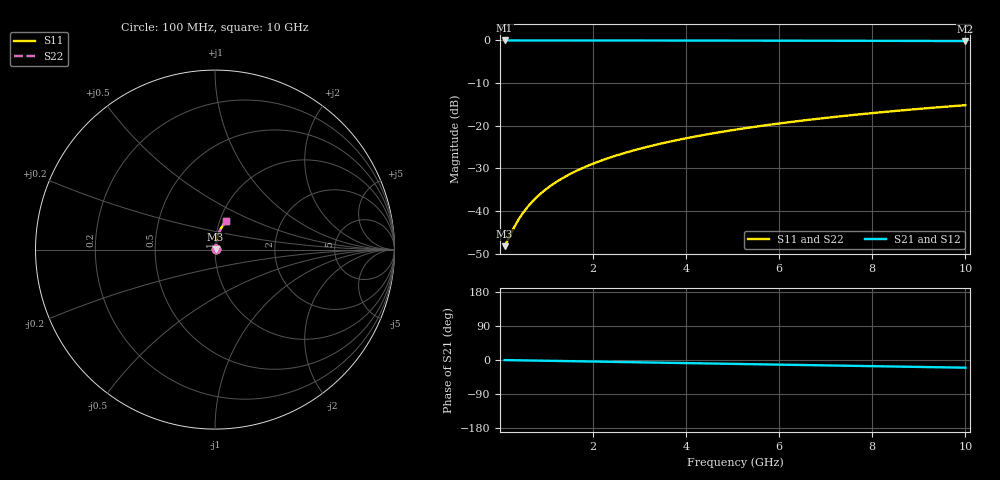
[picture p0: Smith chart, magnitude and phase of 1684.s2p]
# Hz S RI R 50.00
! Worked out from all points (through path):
!   100 points, 100 MHz to 10 GHz, reference 50 ohm
!   highest |S21| = -0.03 dB at 100 MHz (marker M1); lowest = -0.2 dB at 10 GHz (marker M2)
!   group delay of S21, straight-line fit = 5.64 ps
!   lowest |S11| = -48.2 dB at 100 MHz (marker M3), VSWR 1.01, Z = 50.3 + j0.179 ohm
!   |S11| at or under -10 dB: start of sweep to end of sweep
!   |S22| runs from -48.2 to -15.2 dB; largest |S21 - S12| = 0
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1e8  0.00345 0.00177  0.9965 -0.00355  0.9965 -0.00355  0.00345 0.00177
3e8  0.00353 0.00532  0.9964 -0.0106  0.9964 -0.0106  0.00353 0.00532
4e8  0.00359 0.00709  0.9964 -0.0142  0.9964 -0.0142  0.00359 0.00709
5e8  0.00366 0.00887  0.9963 -0.0177  0.9963 -0.0177  0.00366 0.00887
6e8  0.00374 0.0106  0.9962 -0.0213  0.9962 -0.0213  0.00374 0.0106
7e8  0.00383 0.0124  0.9961 -0.0248  0.9961 -0.0248  0.00383 0.0124
8e8  0.00393 0.0142  0.996 -0.0284  0.996 -0.0284  0.00393 0.0142
1e9  0.00417 0.0177  0.9957 -0.0355  0.9957 -0.0355  0.00417 0.0177
1.2e9  0.00446 0.0213  0.9953 -0.0425  0.9953 -0.0425  0.00446 0.0213
1.5e9  0.00499 0.0265  0.9946 -0.0531  0.9946 -0.0531  0.00499 0.0265
1.8e9  0.00563 0.0318  0.9938 -0.0637  0.9938 -0.0637  0.00563 0.0318
2.1e9  0.00638 0.0371  0.9929 -0.0743  0.9929 -0.0743  0.00638 0.0371
2.5e9  0.00755 0.0441  0.9914 -0.0884  0.9914 -0.0884  0.00755 0.0441
2.9e9  0.00892 0.051  0.9897 -0.1025  0.9897 -0.1025  0.00892 0.051
3.4e9  0.0109 0.0596  0.9872 -0.12  0.9872 -0.12  0.0109 0.0596
4.2e9  0.0147 0.0733  0.9824 -0.1478  0.9824 -0.1478  0.0147 0.0733
5.1e9  0.0199 0.0883  0.9759 -0.1789  0.9759 -0.1789  0.0199 0.0883
5.9e9  0.0253 0.1013  0.9691 -0.2062  0.9691 -0.2062  0.0253 0.1013
6.7e9  0.0314 0.114  0.9613 -0.2331  0.9613 -0.2331  0.0314 0.114
7.5e9  0.0382 0.1263  0.9527 -0.2597  0.9527 -0.2597  0.0382 0.1263
8.4e9  0.0467 0.1396  0.9419 -0.2891  0.9419 -0.2891  0.0467 0.1396
1e10  0.0637 0.1618  0.9201 -0.34  0.9201 -0.34  0.0637 0.1618
